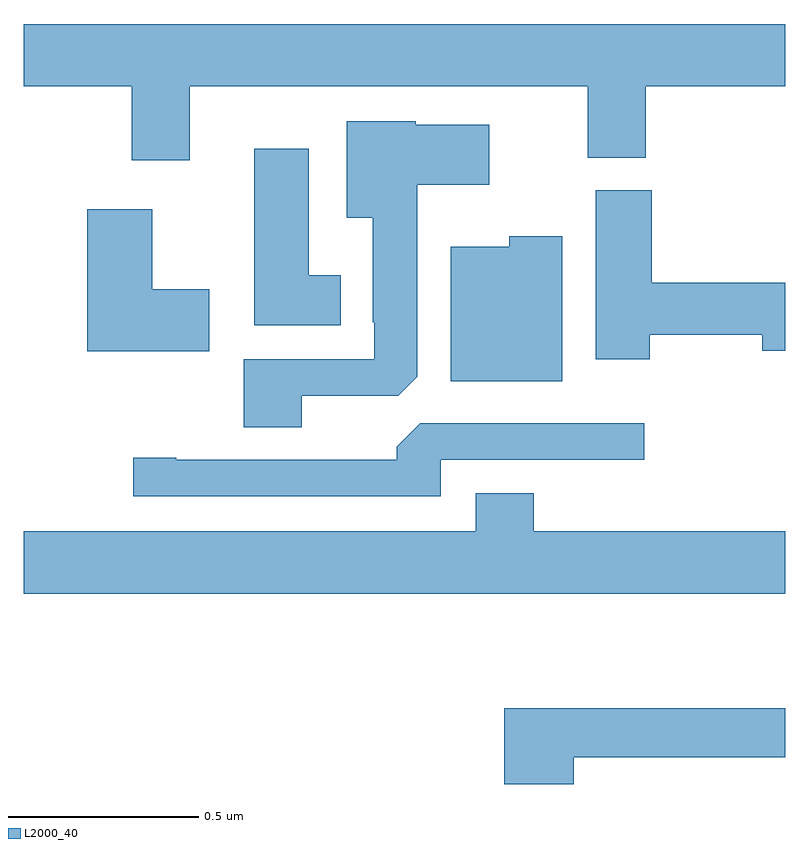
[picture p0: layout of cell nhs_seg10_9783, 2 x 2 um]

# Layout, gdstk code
import gdstk
lib = gdstk.Library(unit=1e-6, precision=1e-09)
def P(c, l, *ps):  # polygons
    for p in ps: c.add(gdstk.Polygon(p, *l))
L2000_40 = (2000, 40)

nhs_seg10_9783 = lib.new_cell('nhs_seg10_9783')
P(nhs_seg10_9783, L2000_40, [(234.436,1284.332),(235.481,1284.332),(235.481,1284.145),(235.634,1284.145),(235.634,1284.332),(236,1284.332),(236,1284.496),(234,1284.496),(234,1284.332),(234.284,1284.332),(234.284,1284.138),(234.436,1284.138)],
  [(234.73,1283.52),(234.984,1283.52),(235.033,1283.569),(235.033,1284.074),(235.222,1284.074),(235.222,1284.232),(235.029,1284.232),(235.029,1284.241),(234.848,1284.241),(234.848,1283.987),(234.917,1283.987),(234.917,1283.713),(234.921,1283.713),(234.921,1283.616),(234.578,1283.616),(234.578,1283.437),(234.73,1283.437)],
  [(234.832,1283.836),(234.748,1283.836),(234.748,1284.169),(234.605,1284.169),(234.605,1283.705),(234.832,1283.705)],
  [(235.644,1283.68),(235.94,1283.68),(235.94,1283.638),(236,1283.638),(236,1283.816),(235.649,1283.816),(235.649,1284.06),(235.502,1284.06),(235.502,1283.616),(235.644,1283.616)],
  [(234.487,1283.799),(234.337,1283.799),(234.337,1284.01),(234.167,1284.01),(234.167,1283.636),(234.487,1283.636)],
  [(235.414,1283.938),(235.275,1283.938),(235.275,1283.911),(235.121,1283.911),(235.121,1283.558),(235.414,1283.558)],
  [(235.095,1283.352),(235.63,1283.352),(235.63,1283.448),(235.041,1283.448),(234.98,1283.386),(234.98,1283.352),(234.4,1283.352),(234.4,1283.357),(234.288,1283.357),(234.288,1283.256),(235.095,1283.256)],
  [(236,1283.164),(235.34,1283.164),(235.34,1283.263),(235.187,1283.263),(235.187,1283.164),(234,1283.164),(234,1283),(236,1283)],
  [(235.445,1282.57),(236,1282.57),(236,1282.699),(235.262,1282.699),(235.262,1282.5),(235.445,1282.5)])

lib.write_gds('nhs_seg10_9783.gds')
